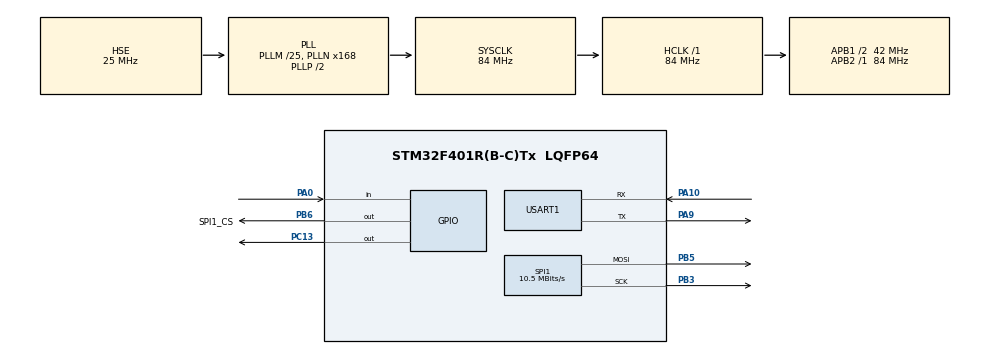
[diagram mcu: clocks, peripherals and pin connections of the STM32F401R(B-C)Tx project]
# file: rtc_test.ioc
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Mcu.Family=STM32F4
Mcu.Name=STM32F401R(B-C)Tx
Mcu.Package=LQFP64
NVIC.PriorityGroup=NVIC_PRIORITYGROUP_4
NVIC.TIM1_TRG_COM_TIM11_IRQn=true\:0\:0\:false\:false\:true\:true\:true\:true
PA0-WKUP.GPIO_PuPd=GPIO_PULLUP
PA0-WKUP.Signal=GPIO_Input
PA10.Mode=Asynchronous
PA10.Signal=USART1_RX
PA9.Mode=Asynchronous
PA9.Signal=USART1_TX
PB3.Mode=TX_Only_Simplex_Unidirect_Master
PB3.Signal=SPI1_SCK
PB5.Mode=TX_Only_Simplex_Unidirect_Master
PB5.Signal=SPI1_MOSI
PB6.GPIO_Label=SPI1_CS
PB6.GPIO_Speed=GPIO_SPEED_FREQ_VERY_HIGH
PB6.PinState=GPIO_PIN_SET
PB6.Signal=GPIO_Output
PC13-ANTI_TAMP.Signal=GPIO_Output
PC14-OSC32_IN.Mode=LSE-External-Oscillator
PC14-OSC32_IN.Signal=RCC_OSC32_IN
PC15-OSC32_OUT.Mode=LSE-External-Oscillator
PC15-OSC32_OUT.Signal=RCC_OSC32_OUT
PH0\ -\ OSC_IN.Mode=HSE-External-Oscillator
PH0\ -\ OSC_IN.Signal=RCC_OSC_IN
PH1\ -\ OSC_OUT.Mode=HSE-External-Oscillator
PH1\ -\ OSC_OUT.Signal=RCC_OSC_OUT
ProjectManager.HeapSize=0x200
ProjectManager.StackSize=0x400
ProjectManager.TargetToolchain=STM32CubeIDE
RCC.48MHZClocksFreq_Value=42000000
RCC.AHBFreq_Value=84000000
RCC.APB1CLKDivider=RCC_HCLK_DIV2
RCC.APB1Freq_Value=42000000
RCC.APB1TimFreq_Value=84000000
RCC.APB2Freq_Value=84000000
RCC.APB2TimFreq_Value=84000000
RCC.CortexFreq_Value=84000000
RCC.HCLKFreq_Value=84000000
RCC.HSE_VALUE=25000000
RCC.HSI_VALUE=16000000
RCC.PLLM=25
RCC.PLLN=168
RCC.PLLSourceVirtual=RCC_PLLSOURCE_HSE
RCC.RCC_RTC_Clock_Source=RCC_RTCCLKSOURCE_LSE
RCC.RCC_RTC_Clock_SourceVirtual=RCC_RTCCLKSOURCE_LSE
RCC.SYSCLKFreq_VALUE=84000000
RCC.SYSCLKSource=RCC_SYSCLKSOURCE_PLLCLK
RCC.VCOOutputFreq_Value=168000000
RTC.Date=2
RTC.Format=RTC_FORMAT_BIN
RTC.HourFormat=RTC_HOURFORMAT_24
RTC.Month=RTC_MONTH_JULY
RTC.SynchPrediv=255
RTC.WeekDay=RTC_WEEKDAY_TUESDAY
RTC.Year=24
SPI1.BaudRatePrescaler=SPI_BAUDRATEPRESCALER_8
SPI1.CalculateBaudRate=10.5 MBits/s
SPI1.Direction=SPI_DIRECTION_2LINES
SPI1.Mode=SPI_MODE_MASTER
SPI1.VirtualType=VM_MASTER
TIM11.Period=53333-1
TIM11.Prescaler=750-1
USART1.VirtualMode=VM_ASYNC
VP_RTC_VS_RTC_Activate.Mode=RTC_Enabled
VP_RTC_VS_RTC_Calendar.Mode=RTC_Calendar
VP_TIM11_VS_ClockSourceINT.Mode=Enable_Timer
board=custom

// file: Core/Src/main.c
/* USER CODE BEGIN Header */
/**
  ******************************************************************************
  * @file           : main.c
  * @brief          : Main program body
  ******************************************************************************
  * @attention
  *
  * Copyright (c) 2024 STMicroelectronics.
  * All rights reserved.
  *
  * This software is licensed under terms that can be found in the LICENSE file
  * in the root directory of this software component.
  * If no LICENSE file comes with this software, it is provided AS-IS.
  *
  ******************************************************************************
  */
/* USER CODE END Header */
#include "main.h"

/* USER CODE BEGIN Includes */
#include <stdio.h>

#include "gpio_button.h"
#include "state_machine.h"
/* USER CODE END Includes */

/* USER CODE BEGIN PD */
#define DECODE_MODE_REG     0x09
#define INTENSITY_REG       0x0A
#define SCAN_LIMIT_REG      0x0B
#define SHUTDOWN_REG        0x0C
#define DISPLAY_TEST_REG    0x0F
/* USER CODE END PD */

/* USER CODE BEGIN PM */
#define CALL_HANDLER(h)     if (cstate->h) cstate->h(&cstate)
/* USER CODE END PM */

RTC_HandleTypeDef hrtc;

SPI_HandleTypeDef hspi1;

TIM_HandleTypeDef htim11;

UART_HandleTypeDef huart1;

/* USER CODE BEGIN PV */
RTC_TimeTypeDef s_time = {0};
RTC_DateTypeDef s_date = {0};

GPIO_Button usr_btn = GPIO_BUTTON(GPIOA, GPIO_PIN_0, GPIO_PIN_RESET);
static const ClockState* cstate = &state_machine_initial_state;
/* USER CODE END PV */

void SystemClock_Config(void);
static void MX_GPIO_Init(void);
static void MX_RTC_Init(void);
static void MX_USART1_UART_Init(void);
static void MX_TIM11_Init(void);
static void MX_SPI1_Init(void);

/* USER CODE BEGIN 0 */
// to get printf() work
int __io_putchar(int ch)
{
  if (ch == '\n') {
    static uint8_t cr = '\r';
    HAL_UART_Transmit(&huart1, &cr, 1, 1);
  }
  HAL_UART_Transmit(&huart1, (uint8_t*)&ch, 1, 1);
  return ch;
}

void max7219_write_reg_all(uint8_t reg, uint8_t value)
{
  uint8_t tx_data[2] = { reg, value };
  HAL_GPIO_WritePin(GPIOB, GPIO_PIN_6, GPIO_PIN_RESET);
  for (int i = 0; i < 4; i++)
    HAL_SPI_Transmit(&hspi1, tx_data, sizeof(tx_data), 2);
  HAL_GPIO_WritePin(GPIOB, GPIO_PIN_6, GPIO_PIN_SET);
}

void max7219_clear_all()
{
  for (int i = 0; i < 8; i++) {
    max7219_write_reg_all(i + 1, 0x00);
  }
}

void max7219_init_all()
{
  max7219_clear_all();
  max7219_write_reg_all(SHUTDOWN_REG, 0);
  max7219_write_reg_all(DISPLAY_TEST_REG, 0);
  max7219_write_reg_all(SCAN_LIMIT_REG, 7);
  max7219_write_reg_all(DECODE_MODE_REG, 0);
  max7219_write_reg_all(SHUTDOWN_REG, 1);
}

void max7219_write_frame(const uint64_t* frame, uint8_t cnt)
{
  for (uint8_t i = 0; i < 8; i++) {         // rows
    HAL_GPIO_WritePin(GPIOB, GPIO_PIN_6, GPIO_PIN_RESET);
    for (uint8_t s = 0; s < cnt; s++) {       // segments
      uint8_t* rows = (uint8_t*)(&frame[cnt-s-1]);
      uint8_t tx_data[2] = { i+1, rows[i] };
      HAL_SPI_Transmit(&hspi1, tx_data, sizeof(tx_data), 2);
    }
    HAL_GPIO_WritePin(GPIOB, GPIO_PIN_6, GPIO_PIN_SET);
  }
}

static void button_handle_short_press()
{
  CALL_HANDLER(short_press);
}

static void button_handle_long_press()
{
  CALL_HANDLER(long_press);
}

static void button_handle_double_click()
{
  CALL_HANDLER(double_click);
}
/* USER CODE END 0 */

int main(void)
{

  /* MCU Configuration--------------------------------------------------------*/

  /* Reset of all peripherals, Initializes the Flash interface and the Systick. */
  HAL_Init();

  /* Configure the system clock */
  SystemClock_Config();

  /* Initialize all configured peripherals */
  MX_GPIO_Init();
  MX_RTC_Init();
  MX_USART1_UART_Init();
  MX_TIM11_Init();
  MX_SPI1_Init();
  /* USER CODE BEGIN 2 */
  HAL_TIM_Base_Start_IT(&htim11);
  max7219_init_all();

  usr_btn.long_press_ms = 1500;
  usr_btn.before_repeat_ms = 400;
  usr_btn.repeat_interval_ms = 160;

  usr_btn.click_handler = &button_handle_short_press;
  usr_btn.long_press_handler = &button_handle_long_press;
  usr_btn.double_click_handler = &button_handle_double_click;

  cstate->enter_state();
  /* USER CODE END 2 */

  /* Infinite loop */
  /* USER CODE BEGIN WHILE */
  while (1)
  {
    GPIO_ButtonCheckState(&usr_btn);
    /* USER CODE END WHILE */

  }
}

void SystemClock_Config(void)
{
  RCC_OscInitTypeDef RCC_OscInitStruct = {0};
  RCC_ClkInitTypeDef RCC_ClkInitStruct = {0};

  /** Configure the main internal regulator output voltage
  */
  __HAL_RCC_PWR_CLK_ENABLE();
  __HAL_PWR_VOLTAGESCALING_CONFIG(PWR_REGULATOR_VOLTAGE_SCALE2);

  /** Initializes the RCC Oscillators according to the specified parameters
  * in the RCC_OscInitTypeDef structure.
  */
  RCC_OscInitStruct.OscillatorType = RCC_OSCILLATORTYPE_HSE|RCC_OSCILLATORTYPE_LSE;
  RCC_OscInitStruct.HSEState = RCC_HSE_ON;
  RCC_OscInitStruct.LSEState = RCC_LSE_ON;
  RCC_OscInitStruct.PLL.PLLState = RCC_PLL_ON;
  RCC_OscInitStruct.PLL.PLLSource = RCC_PLLSOURCE_HSE;
  RCC_OscInitStruct.PLL.PLLM = 25;
  RCC_OscInitStruct.PLL.PLLN = 168;
  RCC_OscInitStruct.PLL.PLLP = RCC_PLLP_DIV2;
  RCC_OscInitStruct.PLL.PLLQ = 4;
  if (HAL_RCC_OscConfig(&RCC_OscInitStruct) != HAL_OK)
  {
    Error_Handler();
  }

  /** Initializes the CPU, AHB and APB buses clocks
  */
  RCC_ClkInitStruct.ClockType = RCC_CLOCKTYPE_HCLK|RCC_CLOCKTYPE_SYSCLK
                              |RCC_CLOCKTYPE_PCLK1|RCC_CLOCKTYPE_PCLK2;
  RCC_ClkInitStruct.SYSCLKSource = RCC_SYSCLKSOURCE_PLLCLK;
  RCC_ClkInitStruct.AHBCLKDivider = RCC_SYSCLK_DIV1;
  RCC_ClkInitStruct.APB1CLKDivider = RCC_HCLK_DIV2;
  RCC_ClkInitStruct.APB2CLKDivider = RCC_HCLK_DIV1;

  if (HAL_RCC_ClockConfig(&RCC_ClkInitStruct, FLASH_LATENCY_2) != HAL_OK)
  {
    Error_Handler();
  }
}

static void MX_RTC_Init(void)
{

  RTC_TimeTypeDef sTime = {0};
  RTC_DateTypeDef sDate = {0};

  /** Initialize RTC Only
  */
  hrtc.Instance = RTC;
  hrtc.Init.HourFormat = RTC_HOURFORMAT_24;
  hrtc.Init.AsynchPrediv = 127;
  hrtc.Init.SynchPrediv = 255;
  hrtc.Init.OutPut = RTC_OUTPUT_DISABLE;
  hrtc.Init.OutPutPolarity = RTC_OUTPUT_POLARITY_HIGH;
  hrtc.Init.OutPutType = RTC_OUTPUT_TYPE_OPENDRAIN;
  if (HAL_RTC_Init(&hrtc) != HAL_OK)
  {
    Error_Handler();
  }

  /** Initialize RTC and set the Time and Date
  */
  sTime.Hours = 0;
  sTime.Minutes = 0;
  sTime.Seconds = 0;
  sTime.DayLightSaving = RTC_DAYLIGHTSAVING_NONE;
  sTime.StoreOperation = RTC_STOREOPERATION_RESET;
  if (HAL_RTC_SetTime(&hrtc, &sTime, RTC_FORMAT_BIN) != HAL_OK)
  {
    Error_Handler();
  }
  sDate.WeekDay = RTC_WEEKDAY_TUESDAY;
  sDate.Month = RTC_MONTH_JULY;
  sDate.Date = 2;
  sDate.Year = 24;

  if (HAL_RTC_SetDate(&hrtc, &sDate, RTC_FORMAT_BIN) != HAL_OK)
  {
    Error_Handler();
  }

}

static void MX_SPI1_Init(void)
{

  /* SPI1 parameter configuration*/
  hspi1.Instance = SPI1;
  hspi1.Init.Mode = SPI_MODE_MASTER;
  hspi1.Init.Direction = SPI_DIRECTION_2LINES;
  hspi1.Init.DataSize = SPI_DATASIZE_8BIT;
  hspi1.Init.CLKPolarity = SPI_POLARITY_LOW;
  hspi1.Init.CLKPhase = SPI_PHASE_1EDGE;
  hspi1.Init.NSS = SPI_NSS_SOFT;
  hspi1.Init.BaudRatePrescaler = SPI_BAUDRATEPRESCALER_8;
  hspi1.Init.FirstBit = SPI_FIRSTBIT_MSB;
  hspi1.Init.TIMode = SPI_TIMODE_DISABLE;
  hspi1.Init.CRCCalculation = SPI_CRCCALCULATION_DISABLE;
  hspi1.Init.CRCPolynomial = 10;
  if (HAL_SPI_Init(&hspi1) != HAL_OK)
  {
    Error_Handler();
  }

}

static void MX_TIM11_Init(void)
{

  htim11.Instance = TIM11;
  htim11.Init.Prescaler = 750-1;
  htim11.Init.CounterMode = TIM_COUNTERMODE_UP;
  htim11.Init.Period = 53333-1;
  htim11.Init.ClockDivision = TIM_CLOCKDIVISION_DIV1;
  htim11.Init.AutoReloadPreload = TIM_AUTORELOAD_PRELOAD_DISABLE;
  if (HAL_TIM_Base_Init(&htim11) != HAL_OK)
  {
    Error_Handler();
  }

}

static void MX_USART1_UART_Init(void)
{

  huart1.Instance = USART1;
  huart1.Init.BaudRate = 115200;
  huart1.Init.WordLength = UART_WORDLENGTH_8B;
  huart1.Init.StopBits = UART_STOPBITS_1;
  huart1.Init.Parity = UART_PARITY_NONE;
  huart1.Init.Mode = UART_MODE_TX_RX;
  huart1.Init.HwFlowCtl = UART_HWCONTROL_NONE;
  huart1.Init.OverSampling = UART_OVERSAMPLING_16;
  if (HAL_UART_Init(&huart1) != HAL_OK)
  {
    Error_Handler();
  }

}

static void MX_GPIO_Init(void)
{
  GPIO_InitTypeDef GPIO_InitStruct = {0};

  /* GPIO Ports Clock Enable */
  __HAL_RCC_GPIOC_CLK_ENABLE();
  __HAL_RCC_GPIOH_CLK_ENABLE();
  __HAL_RCC_GPIOA_CLK_ENABLE();
  __HAL_RCC_GPIOB_CLK_ENABLE();

  /*Configure GPIO pin Output Level */
  HAL_GPIO_WritePin(GPIOC, GPIO_PIN_13, GPIO_PIN_RESET);

  /*Configure GPIO pin Output Level */
  HAL_GPIO_WritePin(SPI1_CS_GPIO_Port, SPI1_CS_Pin, GPIO_PIN_SET);

  /*Configure GPIO pin : PC13 */
  GPIO_InitStruct.Pin = GPIO_PIN_13;
  GPIO_InitStruct.Mode = GPIO_MODE_OUTPUT_PP;
  GPIO_InitStruct.Pull = GPIO_NOPULL;
  GPIO_InitStruct.Speed = GPIO_SPEED_FREQ_LOW;
  HAL_GPIO_Init(GPIOC, &GPIO_InitStruct);

  /*Configure GPIO pin : PA0 */
  GPIO_InitStruct.Pin = GPIO_PIN_0;
  GPIO_InitStruct.Mode = GPIO_MODE_INPUT;
  GPIO_InitStruct.Pull = GPIO_PULLUP;
  HAL_GPIO_Init(GPIOA, &GPIO_InitStruct);

  /*Configure GPIO pin : SPI1_CS_Pin */
  GPIO_InitStruct.Pin = SPI1_CS_Pin;
  GPIO_InitStruct.Mode = GPIO_MODE_OUTPUT_PP;
  GPIO_InitStruct.Pull = GPIO_NOPULL;
  GPIO_InitStruct.Speed = GPIO_SPEED_FREQ_VERY_HIGH;
  HAL_GPIO_Init(SPI1_CS_GPIO_Port, &GPIO_InitStruct);

}

/* USER CODE BEGIN 4 */
void HAL_TIM_PeriodElapsedCallback(TIM_HandleTypeDef *htim)
{
  HAL_GPIO_TogglePin(GPIOC, GPIO_PIN_13);
  HAL_RTC_GetTime(&hrtc, &s_time, RTC_FORMAT_BIN);
  HAL_RTC_GetDate(&hrtc, &s_date, RTC_FORMAT_BIN);
  printf("%02u/%02u/%02u %02u:%02u:%02u.%03lu\n",
         s_date.Date, s_date.Month, s_date.Year,
         s_time.Hours, s_time.Minutes, s_time.Seconds,
         s_time.SubSeconds * 1000 / (s_time.SecondFraction + 1));
  CALL_HANDLER(timer_event);
}
/* USER CODE END 4 */

void Error_Handler(void)
{
  __disable_irq();
  while (1)
  {
  }
}
